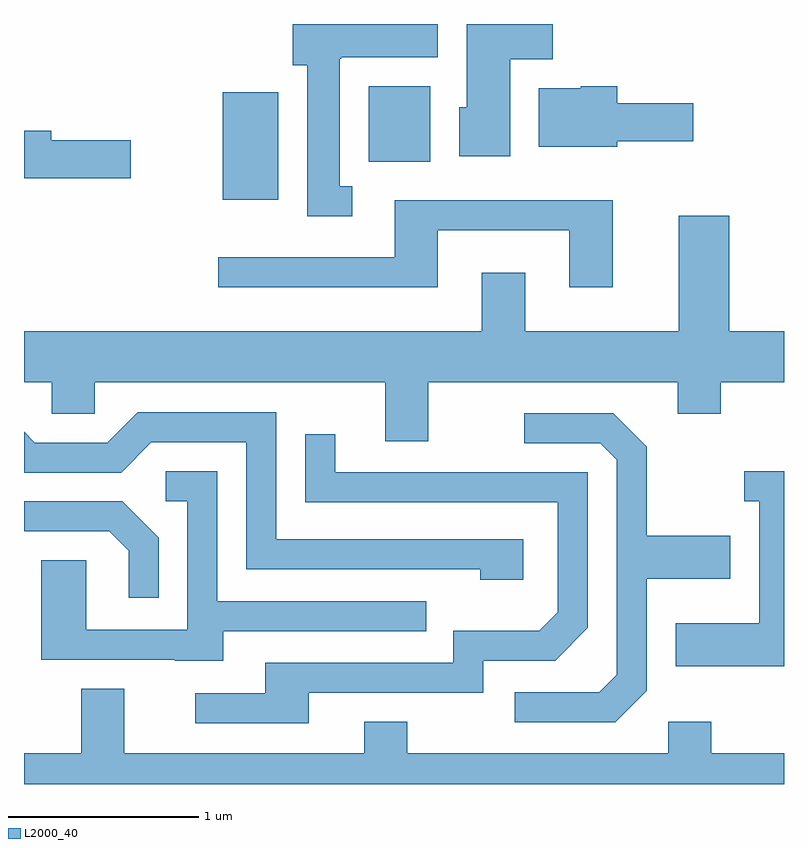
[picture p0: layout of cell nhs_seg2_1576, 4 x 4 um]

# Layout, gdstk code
import gdstk
lib = gdstk.Library(unit=1e-6, precision=1e-09)
def R(c, l, rs):  # rectangles x0, y0, x1, y1
    for r in rs: c.add(gdstk.rectangle(r[:2], r[2:], *l))
def P(c, l, *ps):  # polygons
    for p in ps: c.add(gdstk.Polygon(p, *l))
L2000_40 = (2000, 40)

nhs_seg2_1576 = lib.new_cell('nhs_seg2_1576')
R(nhs_seg2_1576, L2000_40, [(232.656,1004.876,232.949,1005.444), (233.426,1005.076,233.749,1005.474)])
P(nhs_seg2_1576, L2000_40, [(234.169,1005.616),(234.394,1005.616),(234.394,1005.802),(233.941,1005.802),(233.941,1005.364),(233.901,1005.364),(233.901,1005.106),(234.169,1005.106)],
  [(233.338,1004.949),(233.274,1004.949),(233.274,1005.62),(233.28,1005.62),(233.28,1005.626),(233.789,1005.626),(233.789,1005.802),(233.026,1005.802),(233.026,1005.586),(233.101,1005.586),(233.101,1004.791),(233.338,1004.791)],
  [(234.734,1005.186),(235.134,1005.186),(235.134,1005.384),(234.734,1005.384),(234.734,1005.474),(234.54,1005.474),(234.54,1005.464),(234.321,1005.464),(234.321,1005.156),(234.734,1005.156)],
  [(232.174,1005.189),(231.754,1005.189),(231.754,1005.239),(231.611,1005.239),(231.611,1004.991),(232.174,1004.991)],
  [(233.789,1004.716),(234.481,1004.716),(234.481,1004.416),(234.709,1004.416),(234.709,1004.874),(233.561,1004.874),(233.561,1004.574),(232.633,1004.574),(232.633,1004.416),(233.789,1004.416)],
  [(233.739,1003.916),(235.051,1003.916),(235.051,1003.751),(235.279,1003.751),(235.279,1003.916),(235.611,1003.916),(235.611,1004.184),(235.324,1004.184),(235.324,1004.794),(235.056,1004.794),(235.056,1004.184),(234.249,1004.184),(234.249,1004.494),(234.021,1004.494),(234.021,1004.184),(231.611,1004.184),(231.611,1003.916),(231.756,1003.916),(231.756,1003.751),(231.984,1003.751),(231.984,1003.916),(233.511,1003.916),(233.511,1003.606),(233.739,1003.606)],
  [(234.239,1003.089),(232.939,1003.089),(232.939,1003.759),(232.209,1003.759),(232.049,1003.599),(231.667,1003.599),(231.611,1003.655),(231.611,1003.441),(232.122,1003.441),(232.282,1003.601),(232.781,1003.601),(232.781,1002.931),(234.011,1002.931),(234.011,1002.876),(234.239,1002.876)],
  [(234.889,1002.294),(234.889,1002.881),(235.329,1002.881),(235.329,1003.109),(234.889,1003.109),(234.889,1003.577),(234.712,1003.754),(234.243,1003.754),(234.243,1003.596),(234.644,1003.596),(234.731,1003.509),(234.731,1002.377),(234.639,1002.284),(234.193,1002.284),(234.193,1002.126),(234.722,1002.126)],
  [(233.109,1002.281),(234.029,1002.281),(234.029,1002.451),(234.407,1002.451),(234.579,1002.624),(234.579,1003.444),(233.249,1003.444),(233.249,1003.643),(233.091,1003.643),(233.091,1003.286),(234.421,1003.286),(234.421,1002.707),(234.324,1002.609),(233.871,1002.609),(233.871,1002.439),(232.881,1002.439),(232.881,1002.279),(232.513,1002.279),(232.513,1002.121),(233.109,1002.121)],
  [(235.611,1003.449),(235.403,1003.449),(235.403,1003.291),(235.481,1003.291),(235.481,1002.649),(235.041,1002.649),(235.041,1002.421),(235.611,1002.421)],
  [(232.659,1002.606),(233.728,1002.606),(233.728,1002.764),(232.629,1002.764),(232.629,1003.449),(232.358,1003.449),(232.358,1003.291),(232.471,1003.291),(232.471,1002.614),(231.939,1002.614),(231.939,1002.979),(231.701,1002.979),(231.701,1002.456),(232.405,1002.456),(232.405,1002.451),(232.659,1002.451)],
  [(232.319,1003.097),(232.127,1003.289),(231.611,1003.289),(231.611,1003.131),(232.059,1003.131),(232.161,1003.029),(232.161,1002.783),(232.319,1002.783)],
  [(235.611,1001.964),(235.229,1001.964),(235.229,1002.129),(235.001,1002.129),(235.001,1001.964),(233.629,1001.964),(233.629,1002.129),(233.401,1002.129),(233.401,1001.964),(232.139,1001.964),(232.139,1002.304),(231.911,1002.304),(231.911,1001.964),(231.611,1001.964),(231.611,1001.802),(235.611,1001.802)])

lib.write_gds('nhs_seg2_1576.gds')
